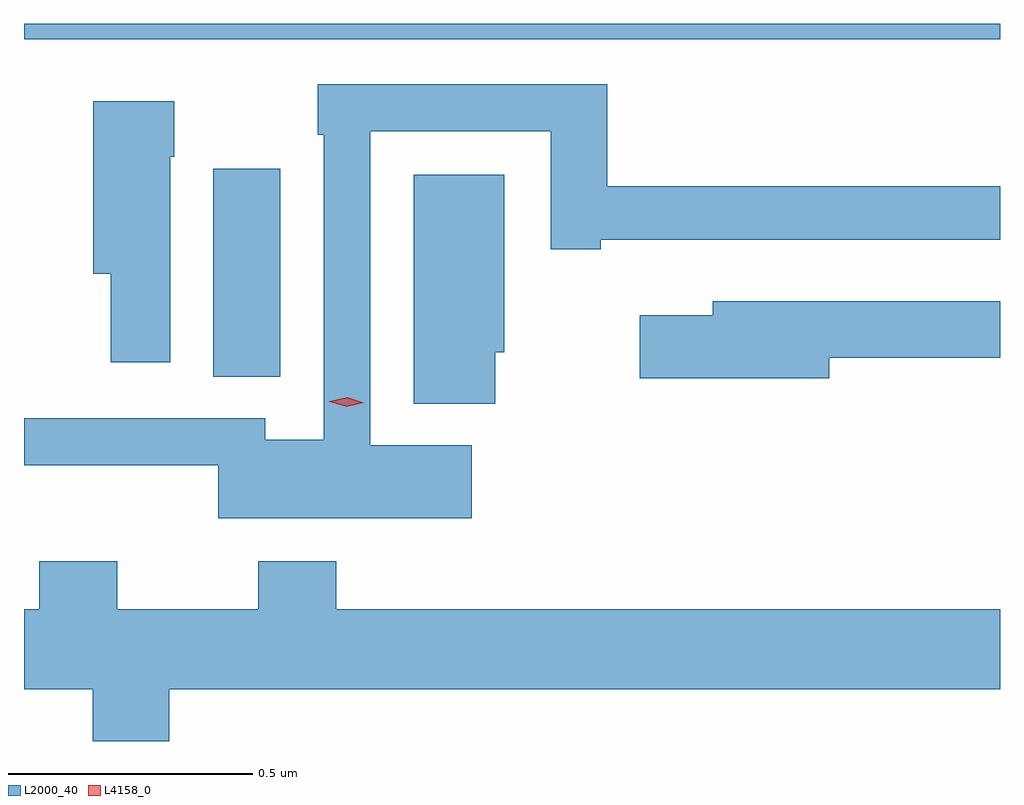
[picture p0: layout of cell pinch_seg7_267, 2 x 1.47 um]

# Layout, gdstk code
import gdstk
lib = gdstk.Library(unit=1e-6, precision=1e-09)
def R(c, l, rs):  # rectangles x0, y0, x1, y1
    for r in rs: c.add(gdstk.rectangle(r[:2], r[2:], *l))
def P(c, l, *ps):  # polygons
    for p in ps: c.add(gdstk.Polygon(p, *l))
L2000_40 = (2000, 40)
L4158_0 = (4158, 0)

pinch_seg7_267 = lib.new_cell('pinch_seg7_267')
R(pinch_seg7_267, L2000_40, [(815.588,1081.177,815.725,1081.603), (815.2,1081.868,817.2,1081.9)])
P(pinch_seg7_267, L2000_40, [(816.118,1081.036),(815.91,1081.036),(815.91,1081.68),(816.279,1081.68),(816.279,1081.438),(816.382,1081.438),(816.382,1081.458),(817.2,1081.458),(817.2,1081.567),(816.395,1081.567),(816.395,1081.776),(815.802,1081.776),(815.802,1081.673),(815.814,1081.673),(815.814,1081.048),(815.694,1081.048),(815.694,1081.092),(815.2,1081.092),(815.2,1080.995),(815.598,1080.995),(815.598,1080.887),(816.118,1080.887)],
  [(815.5,1081.628),(815.508,1081.628),(815.508,1081.741),(815.342,1081.741),(815.342,1081.388),(815.378,1081.388),(815.378,1081.206),(815.5,1081.206)],
  [(816.166,1081.227),(816.184,1081.227),(816.184,1081.591),(815.999,1081.591),(815.999,1081.121),(816.166,1081.121)],
  [(816.85,1081.216),(817.2,1081.216),(817.2,1081.332),(816.611,1081.332),(816.611,1081.303),(816.462,1081.303),(816.462,1081.174),(816.85,1081.174)],
  [(815.498,1080.536),(817.2,1080.536),(817.2,1080.7),(815.84,1080.7),(815.84,1080.799),(815.68,1080.799),(815.68,1080.7),(815.391,1080.7),(815.391,1080.799),(815.231,1080.799),(815.231,1080.7),(815.2,1080.7),(815.2,1080.536),(815.341,1080.536),(815.341,1080.43),(815.498,1080.43)])
P(pinch_seg7_267, L4158_0, [(815.861,1081.115),(815.826,1081.126),(815.826,1081.127),(815.826,1081.127),(815.862,1081.135),(815.896,1081.124),(815.896,1081.124),(815.896,1081.124)])

lib.write_gds('pinch_seg7_267.gds')
